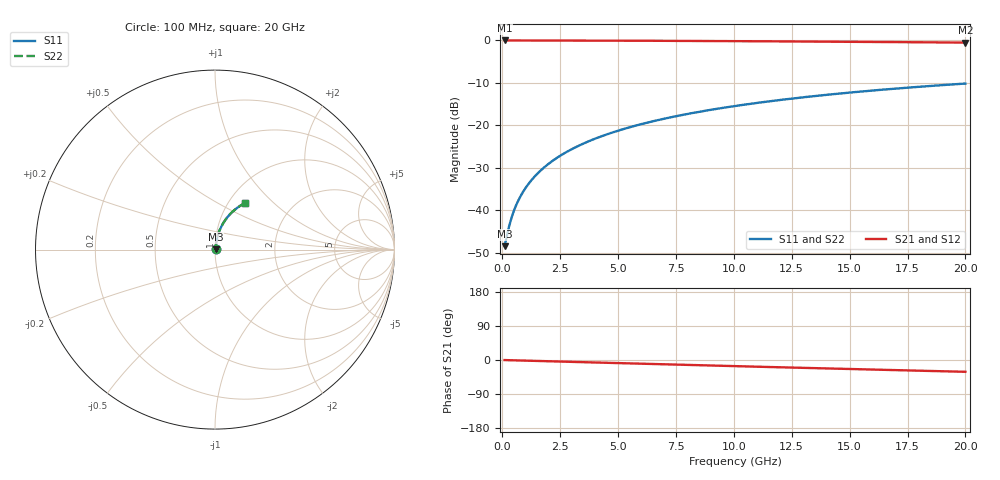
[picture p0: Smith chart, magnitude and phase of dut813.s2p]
! Touchstone file exported from HFSS 2026.1.0
!  File:  C:/ffzhzh/LocalFiles/Ansys_Project_Files/temp_train_TMRDL_813_1783156341_22436.aedt
!  Generated:  05:13:37 PM Jul  4, 2026
!  Design:  TMRDL
!  Project:  temp_train_TMRDL_813_1783156341_22436
! Variables:
!  h_bsmrdl = 2um
!  h_ox = 20um
!  h_rdl = 5um
!  h_sub = 80um
!  h_tmrdl = 2.92um
!  h_tsv = 80um
!  h_via = 3um
!  l_bsmrdl = 300um
!  l_sub = 828.75um
!  l_tmrdl = 428.75um
!  m_sub = 200um
!  pitch = 39.45um
!  r_tsv = 6um
!  s_tmrdl = 10um
!  w_bsmrdl = 18um
!  w_sub = 500um
!  w_tmrdl = 16.82um
!  x_tsv_center1 = 437.16um
!  x_tsv_center2 = 755.16um
!  x_tsv_center3 = 1200.73um
!  x_tsv_center4 = 1518.73um
!  x_tsv_center5 = 1964.3um
!  x_tsv_center6 = 2282.3um
# GHz S MA R 50.000000
! Terminal data exported
! Port[1] = TM_RDL1_1_T1
! Port[2] = TM_RDL1_1_T2
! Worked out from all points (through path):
!   200 points, 100 MHz to 20 GHz, reference 50 ohm
!   highest |S21| = -0.03 dB at 100 MHz (marker M1); lowest = -0.5 dB at 20 GHz (marker M2)
!   group delay of S21, straight-line fit = 4.33 ps
!   lowest |S11| = -48.4 dB at 100 MHz (marker M3), VSWR 1.01, Z = 50.3 + j0.19 ohm
!   |S11| at or under -10 dB: start of sweep to end of sweep
!   |S22| runs from -48.4 to -10.2 dB; largest |S21 - S12| = 2.1e-15
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0.1  0.003793 29.9  0.9967 -0.2  0.9967 -0.2  0.003793 29.9
! Gamma 0 0 0 0
! Port Impedance 50 0 50 0
0.2  0.00505 48.0  0.9966 -0.3  0.9966 -0.3  0.00505 48.0
0.3  0.006587 57.8  0.9965 -0.5  0.9965 -0.5  0.006587 57.8
0.4  0.008213 63.6  0.9964 -0.7  0.9964 -0.7  0.008213 63.6
0.5  0.009869 67.4  0.9963 -0.8  0.9963 -0.8  0.009869 67.4
0.6  0.01154 70.1  0.9962 -1.0  0.9962 -1.0  0.01154 70.1
0.8  0.01489 73.6  0.996 -1.3  0.996 -1.3  0.01489 73.6
1.1  0.01995 76.6  0.9958 -1.8  0.9958 -1.8  0.01995 76.6
1.3  0.02335 77.8  0.9957 -2.2  0.9957 -2.2  0.02335 77.8
1.6  0.02846 79.0  0.9955 -2.6  0.9955 -2.6  0.02846 79.0
2.1  0.03703 79.9  0.9951 -3.5  0.9951 -3.5  0.03703 79.9
2.7  0.04734 80.2  0.9945 -4.4  0.9945 -4.4  0.04734 80.2
3.5  0.06104 79.9  0.9935 -5.7  0.9935 -5.7  0.06104 79.9
4.2  0.07298 79.3  0.9925 -6.9  0.9925 -6.9  0.07298 79.3
5  0.08653 78.4  0.9911 -8.2  0.9911 -8.2  0.08653 78.4
5.9  0.1016 77.3  0.9894 -9.6  0.9894 -9.6  0.1016 77.3
6.8  0.1166 76.1  0.9874 -11.1  0.9874 -11.1  0.1166 76.1
8.3  0.141 73.9  0.9836 -13.5  0.9836 -13.5  0.141 73.9
10.1  0.1696 71.3  0.9783 -16.3  0.9783 -16.3  0.1696 71.3
13.4  0.2197 66.4  0.9671 -21.4  0.9671 -21.4  0.2197 66.4
16.7  0.2667 61.7  0.9544 -26.3  0.9544 -26.3  0.2667 61.7
20  0.3102 57.0  0.9405 -31.1  0.9405 -31.1  0.3102 57.0
